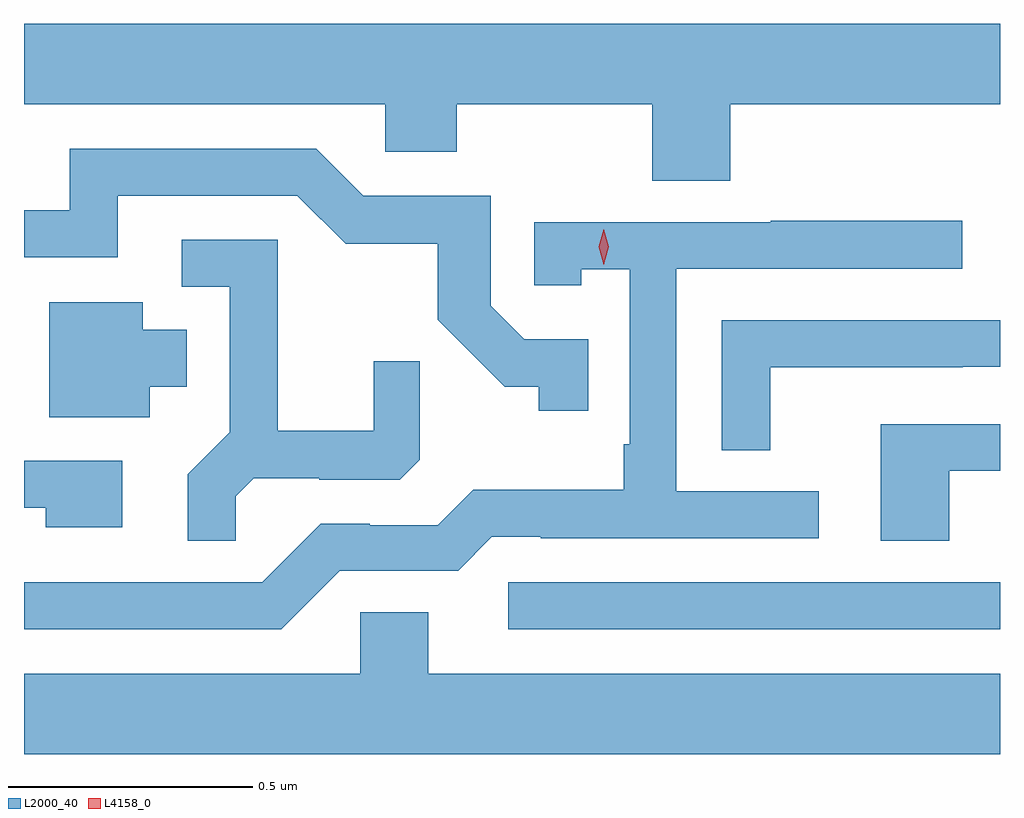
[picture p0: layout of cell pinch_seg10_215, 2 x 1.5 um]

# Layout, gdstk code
import gdstk
lib = gdstk.Library(unit=1e-6, precision=1e-09)
def R(c, l, rs):  # rectangles x0, y0, x1, y1
    for r in rs: c.add(gdstk.rectangle(r[:2], r[2:], *l))
def P(c, l, *ps):  # polygons
    for p in ps: c.add(gdstk.Polygon(p, *l))
L2000_40 = (2000, 40)
L4158_0 = (4158, 0)

pinch_seg10_215 = lib.new_cell('pinch_seg10_215')
R(pinch_seg10_215, L2000_40, [(773.205,1265.94,774.213,1266.036)])
P(pinch_seg10_215, L2000_40, [(773.66,1267.016),(774.213,1267.016),(774.213,1267.18),(772.213,1267.18),(772.213,1267.016),(772.953,1267.016),(772.953,1266.918),(773.1,1266.918),(773.1,1267.016),(773.5,1267.016),(773.5,1266.859),(773.66,1266.859)],
  [(773.369,1266.534),(773.238,1266.534),(773.169,1266.603),(773.169,1266.828),(772.908,1266.828),(772.812,1266.924),(772.307,1266.924),(772.307,1266.798),(772.213,1266.798),(772.213,1266.702),(772.405,1266.702),(772.405,1266.828),(772.773,1266.828),(772.872,1266.73),(773.061,1266.73),(773.061,1266.574),(773.198,1266.437),(773.268,1266.437),(773.268,1266.387),(773.369,1266.387)],
  [(772.86,1266.06),(773.103,1266.06),(773.172,1266.129),(773.272,1266.129),(773.272,1266.126),(773.842,1266.126),(773.842,1266.222),(773.55,1266.222),(773.55,1266.678),(774.136,1266.678),(774.136,1266.777),(773.743,1266.777),(773.743,1266.774),(773.259,1266.774),(773.259,1266.645),(773.355,1266.645),(773.355,1266.677),(773.454,1266.677),(773.454,1266.319),(773.442,1266.319),(773.442,1266.226),(773.134,1266.226),(773.061,1266.153),(772.922,1266.153),(772.922,1266.156),(772.821,1266.156),(772.701,1266.036),(772.213,1266.036),(772.213,1265.94),(772.74,1265.94)],
  [(772.647,1266.212),(772.684,1266.249),(772.818,1266.249),(772.818,1266.246),(772.983,1266.246),(773.024,1266.287),(773.024,1266.489),(772.93,1266.489),(772.93,1266.346),(772.733,1266.346),(772.733,1266.738),(772.536,1266.738),(772.536,1266.642),(772.635,1266.642),(772.635,1266.343),(772.549,1266.257),(772.549,1266.121),(772.647,1266.121)],
  [(772.471,1266.437),(772.546,1266.437),(772.546,1266.553),(772.456,1266.553),(772.456,1266.61),(772.265,1266.61),(772.265,1266.374),(772.471,1266.374)],
  [(773.742,1266.477),(774.137,1266.477),(774.137,1266.478),(774.213,1266.478),(774.213,1266.573),(773.643,1266.573),(773.643,1266.307),(773.742,1266.307)],
  [(774.109,1266.264),(774.213,1266.264),(774.213,1266.36),(773.969,1266.36),(773.969,1266.121),(774.109,1266.121)],
  [(772.414,1266.285),(772.213,1266.285),(772.213,1266.189),(772.258,1266.189),(772.258,1266.149),(772.414,1266.149)],
  [(774.213,1265.848),(773.041,1265.848),(773.041,1265.975),(772.902,1265.975),(772.902,1265.848),(772.213,1265.848),(772.213,1265.684),(774.213,1265.684)])
P(pinch_seg10_215, L4158_0, [(773.401,1266.687),(773.401,1266.687),(773.391,1266.723),(773.401,1266.759),(773.401,1266.759),(773.401,1266.759),(773.411,1266.723),(773.401,1266.687)])

lib.write_gds('pinch_seg10_215.gds')
